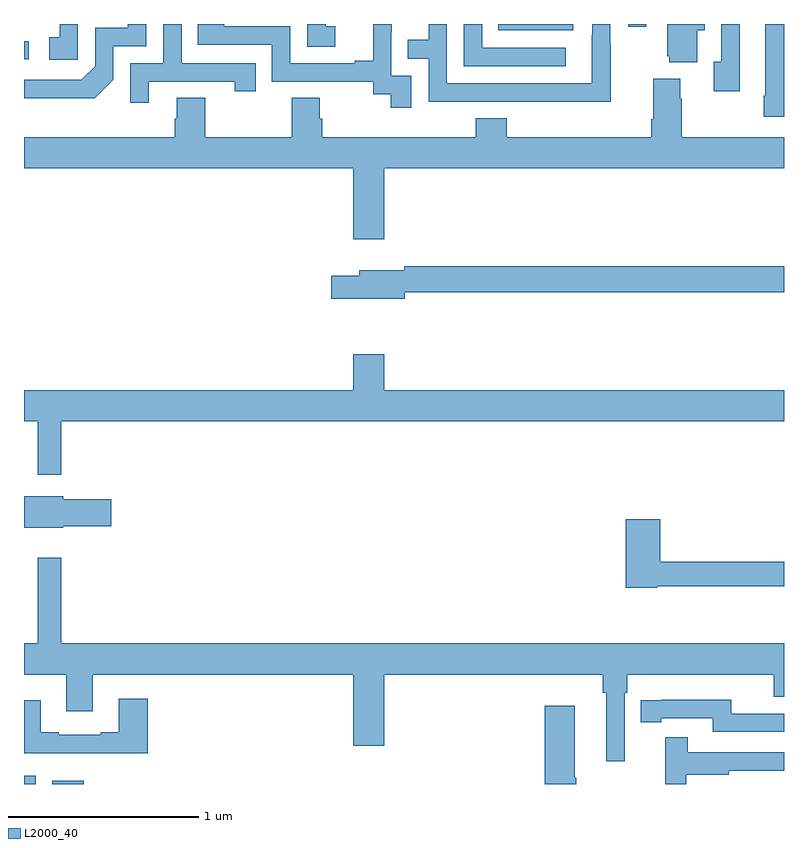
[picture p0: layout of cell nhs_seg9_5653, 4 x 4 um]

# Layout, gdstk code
import gdstk
lib = gdstk.Library(unit=1e-6, precision=1e-09)
def R(c, l, rs):  # rectangles x0, y0, x1, y1
    for r in rs: c.add(gdstk.rectangle(r[:2], r[2:], *l))
def P(c, l, *ps):  # polygons
    for p in ps: c.add(gdstk.Polygon(p, *l))
L2000_40 = (2000, 40)

nhs_seg9_5653 = lib.new_cell('nhs_seg9_5653')
R(nhs_seg9_5653, L2000_40, [(439,1206.5,439.063,1206.544), (439.148,1206.5,439.315,1206.517), (439,1210.314,439.024,1210.41), (441.496,1210.466,441.892,1210.5), (442.179,1210.485,442.275,1210.5), (439,1210.499,439.006,1210.5)])
P(nhs_seg9_5653, L2000_40, [(442.768,1210.5),(442.671,1210.5),(442.671,1210.302),(442.631,1210.302),(442.631,1210.146),(442.768,1210.146)],
  [(443,1210.5),(442.901,1210.5),(442.901,1210.123),(442.894,1210.123),(442.894,1210.011),(443,1210.011)],
  [(440.638,1210.489),(440.589,1210.489),(440.589,1210.5),(440.49,1210.5),(440.49,1210.38),(440.638,1210.38)],
  [(439.657,1210.197),(440.108,1210.197),(440.108,1210.146),(440.219,1210.146),(440.219,1210.293),(439.83,1210.293),(439.83,1210.5),(439.734,1210.5),(439.734,1210.293),(439.56,1210.293),(439.56,1210.086),(439.657,1210.086)],
  [(441.039,1210.227),(440.934,1210.227),(440.934,1210.457),(440.936,1210.457),(440.936,1210.5),(440.837,1210.5),(440.837,1210.306),(440.741,1210.306),(440.741,1210.293),(440.4,1210.293),(440.4,1210.488),(440.055,1210.488),(440.055,1210.5),(439.915,1210.5),(439.915,1210.392),(440.304,1210.392),(440.304,1210.197),(440.838,1210.197),(440.838,1210.129),(440.931,1210.129),(440.931,1210.059),(441.039,1210.059)],
  [(439.47,1210.206),(439.47,1210.383),(439.644,1210.383),(439.644,1210.5),(439.547,1210.5),(439.547,1210.479),(439.374,1210.479),(439.374,1210.278),(439.302,1210.206),(439,1210.206),(439,1210.109),(439.372,1210.109)],
  [(441.85,1210.374),(441.411,1210.374),(441.411,1210.5),(441.315,1210.5),(441.315,1210.278),(441.85,1210.278)],
  [(442.543,1210.466),(442.582,1210.466),(442.582,1210.5),(442.385,1210.5),(442.385,1210.329),(442.397,1210.329),(442.397,1210.298),(442.543,1210.298)],
  [(442.089,1210.397),(442.086,1210.397),(442.086,1210.5),(441.99,1210.5),(441.99,1210.442),(441.989,1210.442),(441.989,1210.188),(441.225,1210.188),(441.225,1210.5),(441.129,1210.5),(441.129,1210.418),(441.019,1210.418),(441.019,1210.317),(441.129,1210.317),(441.129,1210.092),(441.625,1210.092),(441.625,1210.091),(442.089,1210.091)],
  [(439.284,1210.5),(439.187,1210.5),(439.187,1210.431),(439.134,1210.431),(439.134,1210.311),(439.284,1210.311)],
  [(440.557,1210.002),(440.557,1210.112),(440.41,1210.112),(440.41,1209.904),(439.953,1209.904),(439.953,1210.112),(439.805,1210.112),(439.805,1210.002),(439.793,1210.002),(439.793,1209.904),(439,1209.904),(439,1209.74),(440.732,1209.74),(440.732,1209.366),(440.896,1209.366),(440.896,1209.74),(443,1209.74),(443,1209.904),(442.461,1209.904),(442.461,1210.106),(442.453,1210.106),(442.453,1210.213),(442.313,1210.213),(442.313,1210),(442.301,1210),(442.301,1209.904),(441.542,1209.904),(441.542,1210.003),(441.377,1210.003),(441.377,1209.904),(440.57,1209.904),(440.57,1210.002)],
  [(441.004,1209.088),(443,1209.088),(443,1209.224),(441,1209.224),(441,1209.205),(440.765,1209.205),(440.765,1209.175),(440.616,1209.175),(440.616,1209.053),(441.004,1209.053)],
  [(439.195,1208.408),(443,1208.408),(443,1208.572),(440.896,1208.572),(440.896,1208.761),(440.732,1208.761),(440.732,1208.572),(439,1208.572),(439,1208.408),(439.073,1208.408),(439.073,1208.127),(439.195,1208.127)],
  [(439.206,1207.856),(439.459,1207.856),(439.459,1207.998),(439.206,1207.998),(439.206,1208.014),(439,1208.014),(439,1207.85),(439.206,1207.85)],
  [(442.332,1207.542),(443,1207.542),(443,1207.67),(442.349,1207.67),(442.349,1207.894),(442.166,1207.894),(442.166,1207.534),(442.332,1207.534)],
  [(442.161,1206.98),(442.175,1206.98),(442.175,1207.076),(442.946,1207.076),(442.946,1206.959),(443,1206.959),(443,1207.24),(439.195,1207.24),(439.195,1207.69),(439.073,1207.69),(439.073,1207.24),(439,1207.24),(439,1207.076),(439.223,1207.076),(439.223,1206.882),(439.363,1206.882),(439.363,1207.076),(440.732,1207.076),(440.732,1206.702),(440.896,1206.702),(440.896,1207.076),(442.045,1207.076),(442.045,1206.98),(442.064,1206.98),(442.064,1206.621),(442.161,1206.621)],
  [(439.652,1206.949),(439.499,1206.949),(439.499,1206.772),(439.403,1206.772),(439.403,1206.759),(439.183,1206.759),(439.183,1206.772),(439.087,1206.772),(439.087,1206.94),(439,1206.94),(439,1206.662),(439.652,1206.662)],
  [(443,1206.87),(442.722,1206.87),(442.722,1206.943),(442.354,1206.943),(442.354,1206.942),(442.246,1206.942),(442.246,1206.826),(442.354,1206.826),(442.354,1206.846),(442.626,1206.846),(442.626,1206.774),(443,1206.774)],
  [(441.906,1206.533),(441.898,1206.533),(441.898,1206.913),(441.74,1206.913),(441.74,1206.5),(441.906,1206.5)],
  [(442.486,1206.55),(442.709,1206.55),(442.709,1206.57),(443,1206.57),(443,1206.666),(442.493,1206.666),(442.493,1206.745),(442.376,1206.745),(442.376,1206.5),(442.486,1206.5)])

lib.write_gds('nhs_seg9_5653.gds')
